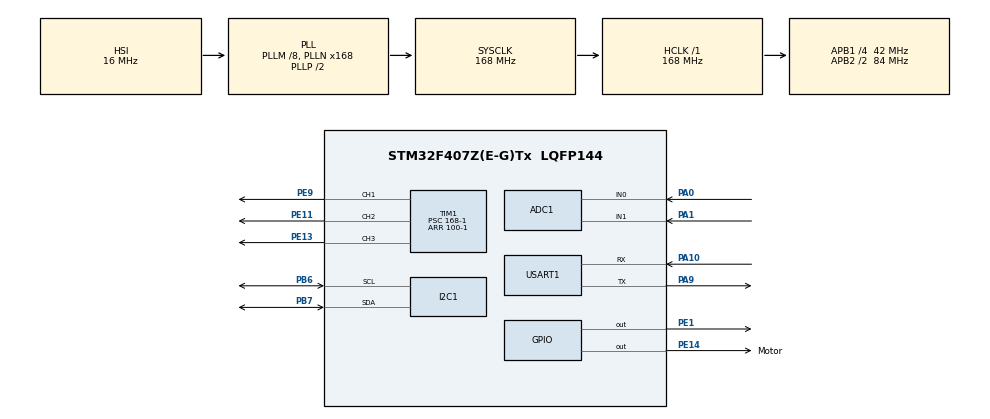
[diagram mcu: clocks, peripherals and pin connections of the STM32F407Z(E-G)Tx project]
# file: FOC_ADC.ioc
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ADC1.Channel-0\#ChannelRegularConversion=ADC_CHANNEL_0
ADC1.Channel-4\#ChannelRegularConversion=ADC_CHANNEL_1
ADC1.ContinuousConvMode=ENABLE
ADC1.DMAContinuousRequests=ENABLE
ADC1.InjNumberOfConversion=0
ADC1.NbrOfConversion=2
ADC1.NbrOfConversionFlag=1
ADC1.Rank-0\#ChannelRegularConversion=1
ADC1.Rank-4\#ChannelRegularConversion=2
ADC1.SamplingTime-0\#ChannelRegularConversion=ADC_SAMPLETIME_56CYCLES
ADC1.SamplingTime-4\#ChannelRegularConversion=ADC_SAMPLETIME_56CYCLES
ADC1.ScanConvMode=ENABLE
ADC1.master=1
Dma.ADC1.0.Direction=DMA_PERIPH_TO_MEMORY
Dma.ADC1.0.FIFOMode=DMA_FIFOMODE_DISABLE
Dma.ADC1.0.Instance=DMA2_Stream0
Dma.ADC1.0.MemDataAlignment=DMA_MDATAALIGN_WORD
Dma.ADC1.0.MemInc=DMA_MINC_ENABLE
Dma.ADC1.0.Mode=DMA_CIRCULAR
Dma.ADC1.0.PeriphDataAlignment=DMA_PDATAALIGN_WORD
Dma.ADC1.0.PeriphInc=DMA_PINC_DISABLE
Dma.ADC1.0.Priority=DMA_PRIORITY_LOW
Dma.Request0=ADC1
Dma.Request1=USART1_RX
Dma.Request2=USART1_TX
Dma.USART1_RX.1.Direction=DMA_PERIPH_TO_MEMORY
Dma.USART1_RX.1.FIFOMode=DMA_FIFOMODE_DISABLE
Dma.USART1_RX.1.Instance=DMA2_Stream2
Dma.USART1_RX.1.MemDataAlignment=DMA_MDATAALIGN_BYTE
Dma.USART1_RX.1.MemInc=DMA_MINC_ENABLE
Dma.USART1_RX.1.Mode=DMA_NORMAL
Dma.USART1_RX.1.PeriphDataAlignment=DMA_PDATAALIGN_BYTE
Dma.USART1_RX.1.PeriphInc=DMA_PINC_DISABLE
Dma.USART1_RX.1.Priority=DMA_PRIORITY_LOW
Dma.USART1_TX.2.Direction=DMA_MEMORY_TO_PERIPH
Dma.USART1_TX.2.FIFOMode=DMA_FIFOMODE_DISABLE
Dma.USART1_TX.2.Instance=DMA2_Stream7
Dma.USART1_TX.2.MemDataAlignment=DMA_MDATAALIGN_BYTE
Dma.USART1_TX.2.MemInc=DMA_MINC_ENABLE
Dma.USART1_TX.2.Mode=DMA_NORMAL
Dma.USART1_TX.2.PeriphDataAlignment=DMA_PDATAALIGN_BYTE
Dma.USART1_TX.2.PeriphInc=DMA_PINC_DISABLE
Dma.USART1_TX.2.Priority=DMA_PRIORITY_LOW
I2C1.I2C_Mode=I2C_Fast
Mcu.Family=STM32F4
Mcu.Name=STM32F407Z(E-G)Tx
Mcu.Package=LQFP144
NVIC.DMA2_Stream0_IRQn=true\:0\:0\:false\:false\:true\:false\:true\:true
NVIC.DMA2_Stream2_IRQn=true\:0\:0\:false\:false\:true\:false\:true\:true
NVIC.DMA2_Stream7_IRQn=true\:0\:0\:false\:false\:true\:false\:true\:true
NVIC.PriorityGroup=NVIC_PRIORITYGROUP_4
PA0-WKUP.Signal=ADCx_IN0
PA1.Signal=ADCx_IN1
PA10.Mode=Asynchronous
PA10.Signal=USART1_RX
PA13.Mode=Serial_Wire
PA13.Signal=SYS_JTMS-SWDIO
PA14.Mode=Serial_Wire
PA14.Signal=SYS_JTCK-SWCLK
PA9.Mode=Asynchronous
PA9.Signal=USART1_TX
PB6.Mode=I2C
PB6.Signal=I2C1_SCL
PB7.Mode=I2C
PB7.Signal=I2C1_SDA
PC14-OSC32_IN.Mode=LSE-External-Oscillator
PC14-OSC32_IN.Signal=RCC_OSC32_IN
PC15-OSC32_OUT.Mode=LSE-External-Oscillator
PC15-OSC32_OUT.Signal=RCC_OSC32_OUT
PE1.Signal=GPIO_Output
PE11.Signal=S_TIM1_CH2
PE13.Signal=S_TIM1_CH3
PE14.GPIO_Label=Motor
PE14.Signal=GPIO_Output
PE9.Signal=S_TIM1_CH1
PH0-OSC_IN.Mode=HSE-External-Oscillator
PH0-OSC_IN.Signal=RCC_OSC_IN
PH1-OSC_OUT.Mode=HSE-External-Oscillator
PH1-OSC_OUT.Signal=RCC_OSC_OUT
ProjectManager.HeapSize=0x200
ProjectManager.StackSize=0x400
ProjectManager.TargetToolchain=MDK-ARM V5.32
RCC.48MHZClocksFreq_Value=84000000
RCC.AHBFreq_Value=168000000
RCC.APB1CLKDivider=RCC_HCLK_DIV4
RCC.APB1Freq_Value=42000000
RCC.APB1TimFreq_Value=84000000
RCC.APB2CLKDivider=RCC_HCLK_DIV2
RCC.APB2Freq_Value=84000000
RCC.APB2TimFreq_Value=168000000
RCC.CortexFreq_Value=168000000
RCC.HCLKFreq_Value=168000000
RCC.HSE_VALUE=25000000
RCC.HSI_VALUE=16000000
RCC.PLLM=8
RCC.PLLN=168
RCC.SYSCLKFreq_VALUE=168000000
RCC.SYSCLKSource=RCC_SYSCLKSOURCE_PLLCLK
RCC.VCOOutputFreq_Value=336000000
SH.ADCx_IN0.0=ADC1_IN0,IN0
SH.ADCx_IN1.0=ADC1_IN1,IN1
SH.S_TIM1_CH1.0=TIM1_CH1,PWM Generation1 CH1
SH.S_TIM1_CH2.0=TIM1_CH2,PWM Generation2 CH2
SH.S_TIM1_CH3.0=TIM1_CH3,PWM Generation3 CH3
TIM1.AutoReloadPreload=TIM_AUTORELOAD_PRELOAD_ENABLE
TIM1.Channel-PWM\ Generation1\ CH1=TIM_CHANNEL_1
TIM1.Channel-PWM\ Generation2\ CH2=TIM_CHANNEL_2
TIM1.Channel-PWM\ Generation3\ CH3=TIM_CHANNEL_3
TIM1.Period=100-1
TIM1.Prescaler=168-1
USART1.VirtualMode=VM_ASYNC
board=custom

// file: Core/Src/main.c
/* USER CODE BEGIN Header */
/**
  ******************************************************************************
  * @file           : main.c
  * @brief          : Main program body
  ******************************************************************************
  * @attention
  *
  * Copyright (c) 2022 STMicroelectronics.
  * All rights reserved.
  *
  * This software is licensed under terms that can be found in the LICENSE file
  * in the root directory of this software component.
  * If no LICENSE file comes with this software, it is provided AS-IS.
  *
  ******************************************************************************
  */
/* USER CODE END Header */
#include "main.h"
#include "adc.h"
#include "dma.h"
#include "i2c.h"
#include "tim.h"
#include "usart.h"
#include "gpio.h"

/* USER CODE BEGIN Includes */
#include "delay_JR.h"
#include "Base_Motor_Control.h"
#include "FOC_Motor.h"
#include "InlineCurrentSense.h"
#include "Inline_ADC.h"
/* USER CODE END Includes */

/* USER CODE BEGIN PV */
float Target = 3.0;
/* USER CODE END PV */

void SystemClock_Config(void);

int main(void)
{

  /* MCU Configuration--------------------------------------------------------*/

  /* Reset of all peripherals, Initializes the Flash interface and the Systick. */
  HAL_Init();

  /* Configure the system clock */
  SystemClock_Config();

  /* Initialize all configured peripherals */
  MX_GPIO_Init();
  MX_DMA_Init();
  MX_ADC1_Init();
  MX_USART1_UART_Init();
  MX_I2C1_Init();
  MX_TIM1_Init();
  /* USER CODE BEGIN 2 */
  delay_init(168);
  HAL_TIM_PWM_Start(&htim1,TIM_CHANNEL_1);
  HAL_TIM_PWM_Start(&htim1,TIM_CHANNEL_2);
  HAL_TIM_PWM_Start(&htim1,TIM_CHANNEL_3);

//  delay_ms(1000);

  LPF_init();                //LPF参数初始化
  PID_init();                //PID参数初始化
  Base_parameter_init();
  Controller = Type_angle_openloop;

  Motor_Init();
  /* USER CODE END 2 */

  /* Infinite loop */
  /* USER CODE BEGIN WHILE */
  while (1)
  {
    Move(Target);
    /* USER CODE END WHILE */

  }
}

void SystemClock_Config(void)
{
  RCC_OscInitTypeDef RCC_OscInitStruct = {0};
  RCC_ClkInitTypeDef RCC_ClkInitStruct = {0};

  /** Configure the main internal regulator output voltage
  */
  __HAL_RCC_PWR_CLK_ENABLE();
  __HAL_PWR_VOLTAGESCALING_CONFIG(PWR_REGULATOR_VOLTAGE_SCALE1);

  /** Initializes the RCC Oscillators according to the specified parameters
  * in the RCC_OscInitTypeDef structure.
  */
  RCC_OscInitStruct.OscillatorType = RCC_OSCILLATORTYPE_HSI;
  RCC_OscInitStruct.HSIState = RCC_HSI_ON;
  RCC_OscInitStruct.HSICalibrationValue = RCC_HSICALIBRATION_DEFAULT;
  RCC_OscInitStruct.PLL.PLLState = RCC_PLL_ON;
  RCC_OscInitStruct.PLL.PLLSource = RCC_PLLSOURCE_HSI;
  RCC_OscInitStruct.PLL.PLLM = 8;
  RCC_OscInitStruct.PLL.PLLN = 168;
  RCC_OscInitStruct.PLL.PLLP = RCC_PLLP_DIV2;
  RCC_OscInitStruct.PLL.PLLQ = 4;
  if (HAL_RCC_OscConfig(&RCC_OscInitStruct) != HAL_OK)
  {
    Error_Handler();
  }

  /** Initializes the CPU, AHB and APB buses clocks
  */
  RCC_ClkInitStruct.ClockType = RCC_CLOCKTYPE_HCLK|RCC_CLOCKTYPE_SYSCLK
                              |RCC_CLOCKTYPE_PCLK1|RCC_CLOCKTYPE_PCLK2;
  RCC_ClkInitStruct.SYSCLKSource = RCC_SYSCLKSOURCE_PLLCLK;
  RCC_ClkInitStruct.AHBCLKDivider = RCC_SYSCLK_DIV1;
  RCC_ClkInitStruct.APB1CLKDivider = RCC_HCLK_DIV4;
  RCC_ClkInitStruct.APB2CLKDivider = RCC_HCLK_DIV2;

  if (HAL_RCC_ClockConfig(&RCC_ClkInitStruct, FLASH_LATENCY_5) != HAL_OK)
  {
    Error_Handler();
  }
}

void Error_Handler(void)
{
  __disable_irq();
  while (1)
  {
  }
}
